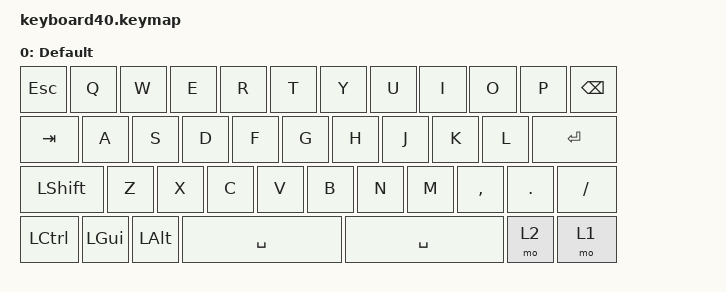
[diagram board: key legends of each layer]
#include <behaviors.dtsi>
#include <dt-bindings/zmk/keys.h>

/ {
    keymap {
        compatible = "zmk,keymap";
        
        default_layer {
            display-name = "Default";
            bindings = <
                &kp ESC   &kp Q &kp W &kp E &kp R &kp T &kp Y &kp U &kp I &kp O &kp P &kp BACKSPACE
                &kp TAB   &kp A &kp S &kp D &kp F &kp G &kp H &kp J &kp K &kp L &kp RET
                &kp LSHFT &kp Z &kp X &kp C &kp V &kp B &kp N &kp M &kp COMMA &kp DOT &kp FSLH
                &kp LCTRL &kp LGUI &kp LALT &kp SPACE &kp SPACE &mo 2 &mo 1
            >;
        };
        num_char_layer {
            display-name = "NUM and char"
            bindings = <
                &trans &kp N1 &kp N2 &kp N3 &kp N4 &kp N5 &kp N6 &kp N7 &kp N8 &kp N9 &kp N0
        };
        fn_layer {
            display-name = "FN"
                &trans  &kp F1  &kp F2  &kp F3  &kp F4  &kp F5  &kp F6  &kp F7  &kp F8  &kp F9  &kp F10
                &trans  &kp F11 &kp F12 &kp F13 &kp F14 &kp F15 &kp F16 &kp F17 &kp F18 &kp F19 &kp F20 
        };
    };
};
